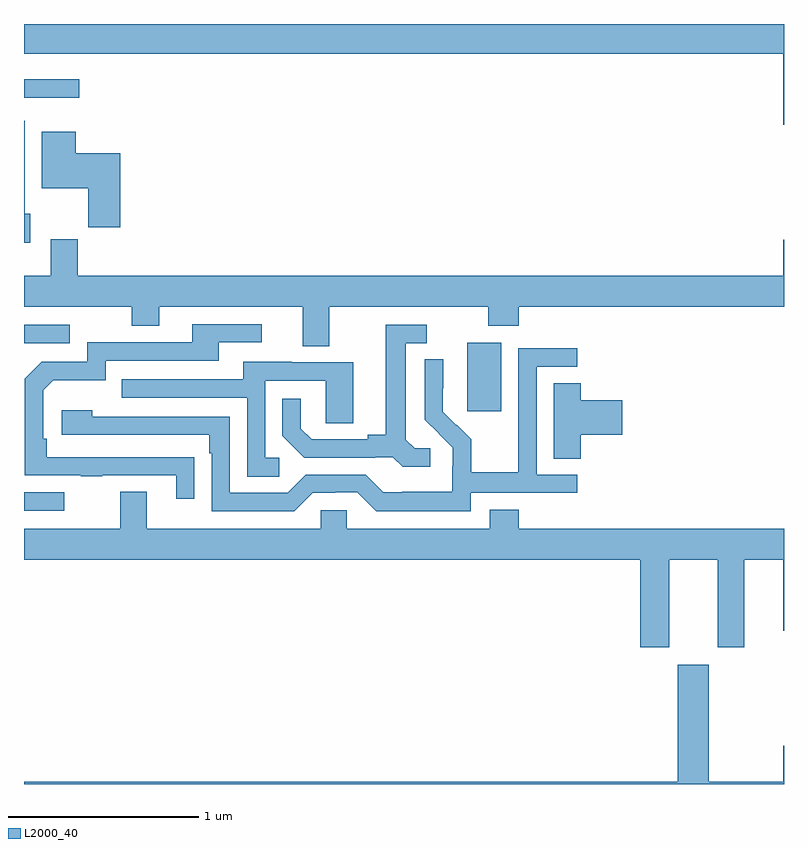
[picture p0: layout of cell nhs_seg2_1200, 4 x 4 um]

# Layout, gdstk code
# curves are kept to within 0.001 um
import gdstk
lib = gdstk.Library(unit=1e-6, precision=1e-09)
def R(c, l, rs):  # rectangles x0, y0, x1, y1
    for r in rs: c.add(gdstk.rectangle(r[:2], r[2:], *l))
def P(c, l, *ps):  # polygons
    for p in ps: c.add(gdstk.Polygon(p, *l))
L2000_40 = (2000, 40)

nhs_seg2_1200 = lib.new_cell('nhs_seg2_1200')
R(nhs_seg2_1200, L2000_40, [(173,637.239,173.212,637.335), (175.334,637.761,175.513,638.122), (173,638.121,173.242,638.217), (173,639.411,173.29,639.508)])
P(nhs_seg2_1200, L2000_40, [(177,639.8),(173,639.8),(173,639.644),(176.996,639.644),(176.996,639.27),(177,639.27)],
  [(173.032,638.802),(173.005,638.802),(173.005,639.292),(173,639.292),(173,638.648),(173.032,638.648)],
  [(173.507,639.121),(173.272,639.121),(173.272,639.232),(173.093,639.232),(173.093,638.936),(173.337,638.936),(173.337,638.731),(173.507,638.731)],
  [(174.607,638.312),(175.444,638.312),(175.444,638.213),(175.604,638.213),(175.604,638.312),(177,638.312),(177,638.665),(176.996,638.665),(176.996,638.476),(173.282,638.476),(173.282,638.666),(173.141,638.666),(173.141,638.476),(173,638.476),(173,638.312),(173.566,638.312),(173.566,638.213),(173.713,638.213),(173.713,638.312),(174.467,638.312),(174.467,638.104),(174.607,638.104)],
  [(173.897,637.52),(173.12,637.521),(173.12,637.618),(173.1,637.618),(173.1,637.872),(173.153,637.925),(173.43,637.925),(173.43,638.028),(174.025,638.028),(174.025,638.124),(174.25,638.124),(174.25,638.22),(173.885,638.22),(173.885,638.124),(173.334,638.124),(173.334,638.022),(173.094,638.022),(173.004,637.932),(173.004,637.425),(173.299,637.425),(173.299,637.42),(173.411,637.42),(173.411,637.425),(173.801,637.425),(173.801,637.302),(173.897,637.302)],
  [(175.138,637.566),(175.056,637.566),(175.009,637.613),(175.009,638.121),(175.12,638.121),(175.12,638.217),(174.905,638.217),(174.905,637.637),(174.809,637.637),(174.809,637.614),(174.514,637.614),(174.457,637.671),(174.457,637.828),(174.36,637.828),(174.36,637.634),(174.476,637.518),(174.848,637.518),(174.848,637.521),(174.942,637.521),(174.994,637.469),(175.138,637.469)],
  [(175.35,637.332),(175.912,637.332),(175.912,637.428),(175.698,637.428),(175.698,637.995),(175.912,637.995),(175.912,638.094),(175.602,638.094),(175.602,637.664),(175.6,637.664),(175.6,637.441),(175.355,637.441),(175.355,637.615),(175.278,637.692),(175.275,637.689),(175.205,637.76),(175.206,638.036),(175.11,638.036),(175.11,637.718),(175.256,637.57),(175.256,637.473),(175.254,637.473),(175.254,637.339),(174.991,637.339),(174.991,637.335),(174.891,637.335),(174.798,637.428),(174.483,637.428),(174.387,637.332),(174.084,637.332),(174.084,637.734),(173.36,637.734),(173.36,637.768),(173.199,637.768),(173.199,637.638),(173.975,637.638),(173.975,637.541),(173.988,637.541),(173.988,637.236),(174.423,637.236),(174.519,637.332),(174.638,637.332),(174.638,637.335),(174.753,637.335),(174.853,637.235),(175.35,637.235)],
  [(174.343,637.518),(174.27,637.518),(174.27,637.923),(174.588,637.923),(174.588,637.699),(174.733,637.699),(174.733,638.019),(174.409,638.019),(174.409,638.023),(174.155,638.023),(174.155,637.929),(173.515,637.929),(173.515,637.833),(174.174,637.833),(174.174,637.417),(174.343,637.417)],
  [(175.931,637.637),(176.149,637.637),(176.149,637.82),(175.931,637.82),(175.931,637.91),(175.787,637.91),(175.787,637.513),(175.931,637.513)],
  [(176.395,636.98),(176.651,636.98),(176.651,636.519),(176.791,636.519),(176.791,636.98),(176.996,636.98),(176.996,636.606),(177,636.606),(177,637.144),(175.604,637.144),(175.604,637.243),(175.451,637.243),(175.451,637.144),(174.699,637.144),(174.699,637.242),(174.561,637.242),(174.561,637.144),(173.647,637.144),(173.647,637.339),(173.507,637.339),(173.507,637.144),(173,637.144),(173,636.98),(176.243,636.98),(176.243,636.519),(176.395,636.519)],
  [(177,636.001),(176.996,636.001),(176.996,635.812),(176.605,635.812),(176.605,636.427),(176.441,636.427),(176.441,635.812),(173,635.812),(173,635.8),(177,635.8)])

lib.write_gds('nhs_seg2_1200.gds')
